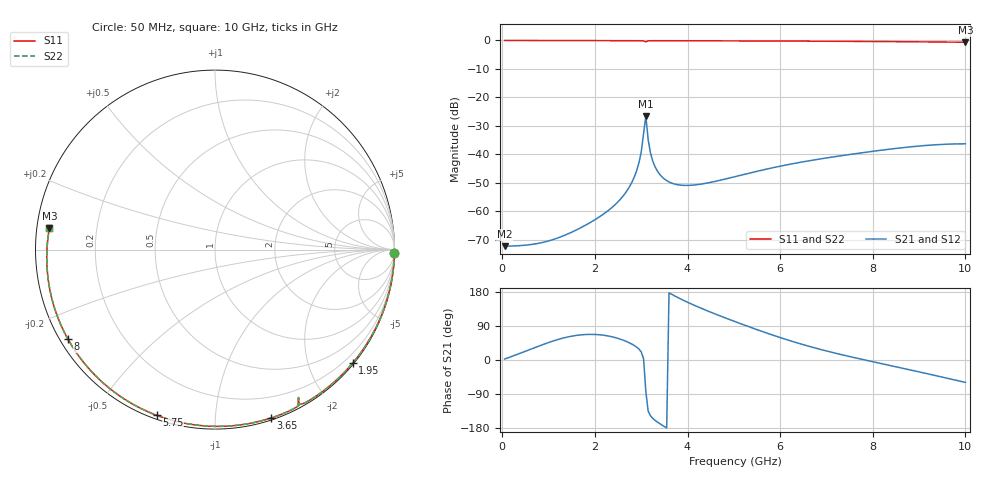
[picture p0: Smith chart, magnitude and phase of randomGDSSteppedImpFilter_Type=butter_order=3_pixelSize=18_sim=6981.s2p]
! freq	dB(S11)	phase(S11)	dB(S12)	phase(S12)
!  dB(S21)	phase(S21)	dB(S22)	phase(S22)
!S-par simulation data
#  GHz  S  DB  R 50
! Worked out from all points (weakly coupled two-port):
!   200 points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, 50 MHz to 10 GHz, reference 50 ohm
!   highest |S21| = -26.52 dB at 3.1 GHz (marker M1); lowest = -72.3 dB at 50 MHz (marker M2)
!   lowest |S11| = -0.6 dB at 10 GHz (marker M3), VSWR 27.61, Z = 1.82 + j3.23 ohm
!   |S11| at or under -10 dB: nowhere
!   |S22| runs from -0.6 to 0.0 dB; largest |S21 - S12| = 0
!   S11 on the Smith chart (normalised r, x): 50 MHz: open; 1.95 GHz: 0.03, -2.79; 3.65 GHz: 0.02, -1.38; 5.75 GHz: 0.02, -0.71; 8 GHz: 0.02, -0.28; 10 GHz: 0.04, +0.06
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0.05  -0.00 -1.0  -72.31 2.5  -72.31 2.5  -0.00 -1.0
0.95  -0.02 -19.4  -70.68 44.0  -70.68 44.0  -0.02 -19.4
1.75  -0.04 -35.5  -65.36 66.9  -65.36 66.9  -0.04 -35.5
1.95  -0.05 -39.4  -63.51 67.5  -63.51 67.5  -0.05 -39.4
2.45  -0.06 -49.2  -57.51 58.8  -57.51 58.8  -0.06 -49.2
2.8  -0.07 -56.1  -49.80 41.8  -49.80 41.8  -0.07 -56.1
2.9  -0.08 -58.1  -45.84 34.1  -45.84 34.1  -0.08 -58.1
3  -0.10 -60.3  -39.19 21.3  -39.19 21.3  -0.10 -60.4
3.1  -0.48 -60.6  -26.52 -83.6  -26.52 -83.6  -0.48 -60.6
3.15  -0.14 -61.6  -34.87 -135.0  -34.87 -135.0  -0.14 -61.6
3.2  -0.10 -62.9  -39.55 -147.3  -39.55 -147.3  -0.10 -62.9
3.3  -0.09 -65.0  -44.44 -159.3  -44.44 -159.3  -0.09 -65.0
3.4  -0.09 -67.0  -47.08 -168.0  -47.08 -168.0  -0.09 -67.0
3.65  -0.10 -71.8  -50.09 173.9  -50.09 173.9  -0.10 -71.8
4.15  -0.11 -81.0  -50.79 144.1  -50.79 144.1  -0.11 -81.0
5.05  -0.15 -97.1  -47.78 100.2  -47.78 100.2  -0.15 -97.1
5.75  -0.19 -109.4  -45.06 69.4  -45.06 69.4  -0.19 -109.4
6.7  -0.25 -125.8  -42.08 33.5  -42.08 33.5  -0.25 -125.8
8  -0.36 -148.7  -38.96 -4.5  -38.96 -4.5  -0.36 -148.7
8.35  -0.40 -155.1  -38.24 -13.8  -38.24 -13.8  -0.40 -155.1
9.2  -0.51 -171.2  -36.84 -36.8  -36.84 -36.8  -0.51 -171.2
10  -0.63 172.6  -36.33 -59.1  -36.33 -59.1  -0.63 172.6
